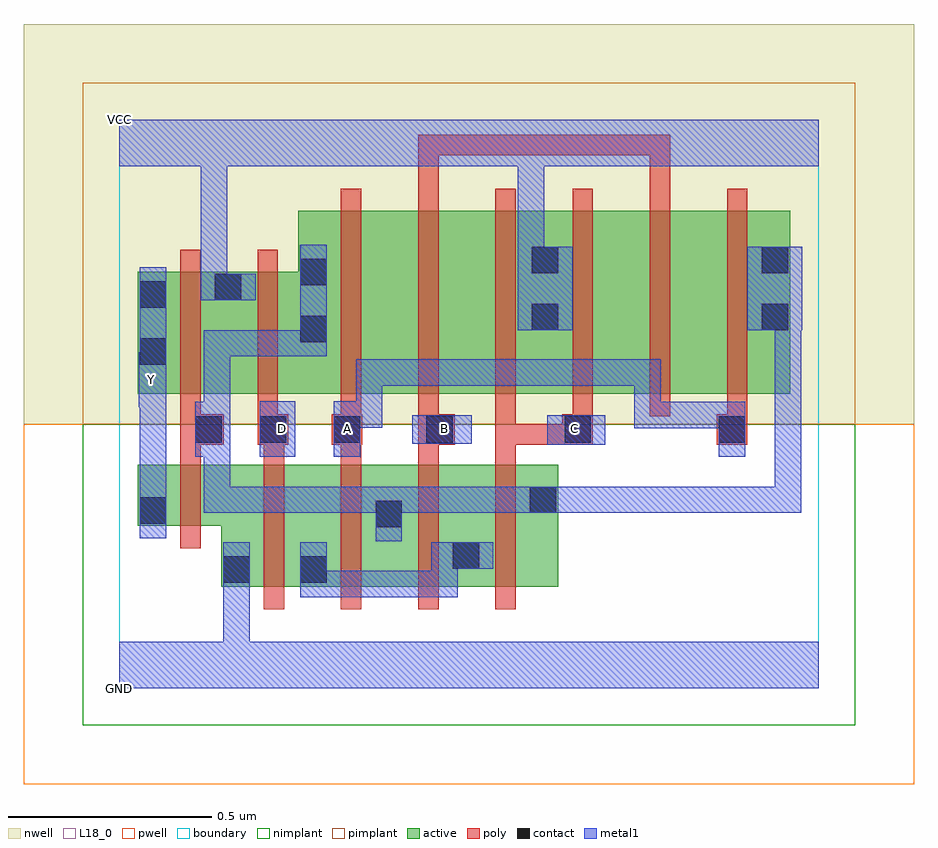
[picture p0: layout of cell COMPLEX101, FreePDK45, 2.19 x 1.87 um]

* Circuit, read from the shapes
.subckt COMPLEX101 A B C D GND VCC Y
M1 GND n1 Y VSUBS nfet w=0.15u l=0.05u
M2 n2 D GND VSUBS nfet w=0.3u l=0.05u
M3 n1 A n2 VSUBS nfet w=0.3u l=0.05u
M4 n2 B n1 VSUBS nfet w=0.3u l=0.05u
M5 n1 C n2 VSUBS nfet w=0.3u l=0.05u
M6 VCC n1 Y n3 pfet w=0.3u l=0.05u
M7 n1 D VCC n3 pfet w=0.3u l=0.05u
M8 n4 A n1 n3 pfet w=0.45u l=0.05u
M9 n5 B n4 n3 pfet w=0.45u l=0.05u
M10 VCC C n5 n3 pfet w=0.45u l=0.05u
M11 n6 C VCC n3 pfet w=0.45u l=0.05u
M12 n7 B n6 n3 pfet w=0.45u l=0.05u
M13 n1 A n7 n3 pfet w=0.45u l=0.05u
.ends

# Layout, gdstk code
import gdstk
lib = gdstk.Library(unit=1e-6, precision=1e-09)
def R(c, l, rs):  # rectangles x0, y0, x1, y1
    for r in rs: c.add(gdstk.rectangle(r[:2], r[2:], *l))
def A(c, l, x, y, w, h, nx, ny, dx, dy):  # array of equal rectangles
    R(c, l, [(x+i*dx, y+j*dy, x+i*dx+w, y+j*dy+h) for i in range(nx) for j in range(ny)])
active = (1, 0)
pwell = (2, 0)
nwell = (3, 0)
nimplant = (4, 0)
pimplant = (5, 0)
poly = (9, 0)
contact = (10, 0)
metal1 = (11, 0)
L18_0 = (18, 0)
boundary = (235, 0)

complex101 = lib.new_cell('COMPLEX101')
R(complex101, active, [(0.25,0.25,0.515,0.55), (0.44,0.25,0.7,0.55), (0.44,0.25,0.515,0.392), (0.625,0.25,0.89,0.55), (0.815,0.25,1.08,0.55), (0.815,0.25,0.89,0.502), (0.25,0.255,0.325,0.55), (1.005,0.282,1.08,0.55), (0.625,0.295,0.7,0.467), (0.045,0.4,0.325,0.55), (0.045,0.4,0.12,0.55), (0.045,0.725,0.305,1.025), (0.045,0.725,0.12,1.007), (0.23,0.725,0.515,1.025), (0.44,0.725,0.665,1.175), (0.44,0.725,0.515,1.062), (0.665,0.725,0.855,1.175), (0.855,0.725,1.085,1.175), (1.01,0.725,1.235,1.175), (1.235,0.725,1.425,1.175), (1.425,0.725,1.65,1.175), (1.575,0.725,1.65,1.155), (1.01,0.732,1.085,1.155), (0.23,0.742,0.305,1.025)])
R(complex101, pwell, [(-0.235,-0.235,1.955,0.65)])
R(complex101, nwell, [(-0.235,0.65,1.955,1.635)])
R(complex101, nimplant, [(-0.09,-0.09,1.81,0.65)])
R(complex101, pimplant, [(-0.09,0.65,1.81,1.49)])
A(complex101, poly, 0.355, 0.195, 0.05, 0.41, 4, 1, 0.19, 0)
A(complex101, poly, 0.355, 0.555, 0.05, 0.095, 4, 1, 0.19, 0)
A(complex101, poly, 0.735, 0.625, 0.05, 0.095, 3, 1, 0.38, 0)
A(complex101, poly, 0.545, 0.67, 0.05, 0.56, 6, 1, 0.19, 0)
R(complex101, poly, [(0.15,0.345,0.2,0.605), (0.15,0.555,0.2,0.65), (0.15,0.6,0.257,0.675), (0.34,0.6,0.415,0.675), (0.522,0.6,0.597,0.675), (0.735,0.6,0.825,0.675), (0.925,0.6,0.975,0.65), (0.925,0.6,0.975,0.65), (0.925,0.6,0.975,0.65), (0.925,0.6,1.14,0.65), (0.925,0.6,0.975,0.72), (1.09,0.6,1.165,0.675), (1.47,0.6,1.545,0.675), (0.15,0.625,0.2,0.72), (0.34,0.625,0.39,0.72), (0.545,0.625,0.595,0.72), (0.15,0.67,0.2,1.08), (0.34,0.67,0.39,1.08), (0.735,1.18,0.785,1.362), (1.305,1.18,1.355,1.362), (0.735,1.312,0.785,1.362), (0.735,1.312,0.785,1.362), (0.735,1.312,0.785,1.362), (0.735,1.312,1.007,1.362), (0.957,1.312,1.007,1.362), (0.957,1.312,1.007,1.362), (0.957,1.312,1.007,1.362), (0.957,1.312,1.14,1.362), (1.09,1.312,1.14,1.362), (1.09,1.312,1.355,1.362), (1.305,1.312,1.355,1.362), (1.305,1.312,1.355,1.362), (1.305,1.312,1.355,1.362)])
R(complex101, contact, [(0.255,0.26,0.32,0.325), (0.445,0.26,0.51,0.325), (0.82,0.295,0.885,0.36), (0.63,0.397,0.695,0.462), (0.05,0.405,0.115,0.47), (1.01,0.432,1.075,0.497), (0.187,0.605,0.252,0.67), (0.345,0.605,0.41,0.67), (0.527,0.605,0.592,0.67), (0.755,0.605,0.82,0.67), (1.095,0.605,1.16,0.67), (1.475,0.605,1.54,0.67), (0.05,0.797,0.115,0.862), (0.445,0.852,0.51,0.917), (1.015,0.882,1.08,0.947), (1.58,0.882,1.645,0.947), (0.05,0.937,0.115,1.002), (0.235,0.955,0.3,1.02), (0.445,0.992,0.51,1.057), (1.015,1.022,1.08,1.087), (1.58,1.022,1.645,1.087)])
R(complex101, metal1, [(0,0,1.72,0.115), (0.255,0.05,0.32,0.115), (0.255,0.05,0.32,0.115), (0.255,0.05,0.32,0.29), (0.255,0.225,0.32,0.29), (0.255,0.225,0.32,0.29), (0.255,0.225,0.32,0.36), (0.445,0.225,0.51,0.36), (0.445,0.225,0.647,0.29), (0.582,0.225,0.647,0.29), (0.582,0.225,0.647,0.29), (0.582,0.225,0.647,0.29), (0.582,0.225,0.832,0.29), (0.767,0.225,0.832,0.36), (0.767,0.295,0.85,0.36), (0.785,0.295,0.92,0.36), (0.63,0.362,0.695,0.497), (0.05,0.37,0.115,0.505), (0.207,0.432,0.272,0.497), (0.207,0.432,0.39,0.497), (0.207,0.432,0.272,0.635), (0.325,0.432,0.39,0.497), (0.325,0.432,0.492,0.497), (0.427,0.432,0.492,0.497), (0.427,0.432,0.647,0.497), (0.582,0.432,0.647,0.497), (0.582,0.432,0.695,0.497), (0.63,0.432,0.832,0.497), (0.767,0.432,0.832,0.497), (0.767,0.432,0.832,0.497), (0.767,0.432,0.832,0.497), (0.767,0.432,0.97,0.497), (0.905,0.432,0.97,0.497), (0.905,0.432,1.04,0.497), (0.975,0.432,1.11,0.497), (1.045,0.432,1.11,0.497), (1.045,0.432,1.11,0.497), (1.045,0.432,1.332,0.497), (1.267,0.432,1.332,0.497), (1.267,0.432,1.332,0.497), (1.267,0.432,1.332,0.497), (1.267,0.432,1.47,0.497), (1.405,0.432,1.47,0.497), (1.405,0.432,1.677,0.497), (1.612,0.432,1.677,0.497), (1.612,0.432,1.677,0.497), (1.612,0.432,1.677,0.497), (1.612,0.432,1.677,0.947), (0.05,0.44,0.115,0.757), (0.187,0.57,0.252,0.705), (0.187,0.57,0.272,0.635), (0.207,0.57,0.272,0.635), (0.207,0.57,0.272,0.882), (0.345,0.57,0.432,0.707), (0.527,0.57,0.592,0.707), (1.475,0.57,1.54,0.705), (1.052,0.6,1.195,0.672), (0.72,0.602,0.867,0.672), (1.267,0.64,1.332,0.705), (1.267,0.64,1.332,0.705), (1.267,0.64,1.332,0.705), (1.267,0.64,1.472,0.705), (1.267,0.64,1.332,0.81), (1.407,0.64,1.472,0.705), (1.407,0.64,1.54,0.705), (0.527,0.642,0.647,0.707), (0.582,0.642,0.647,0.707), (0.582,0.642,0.647,0.81), (0.047,0.692,0.115,0.827), (0.582,0.745,0.647,0.81), (0.582,0.745,0.832,0.81), (0.767,0.745,0.832,0.81), (0.767,0.745,0.832,0.81), (0.767,0.745,0.832,0.81), (0.767,0.745,0.972,0.81), (0.907,0.745,0.972,0.81), (0.907,0.745,0.972,0.81), (0.907,0.745,0.972,0.81), (0.907,0.745,1.195,0.81), (1.13,0.745,1.195,0.81), (1.13,0.745,1.332,0.81), (1.267,0.745,1.332,0.81), (0.05,0.762,0.115,0.827), (0.05,0.762,0.115,1.037), (0.207,0.817,0.272,0.882), (0.207,0.817,0.435,0.882), (0.37,0.817,0.435,0.882), (0.37,0.817,0.51,0.882), (0.445,0.817,0.51,1.092), (0.98,0.882,1.115,1.087), (1.545,0.882,1.68,1.087), (1.612,0.882,1.677,0.947), (1.612,0.882,1.677,0.947), (0.2,0.955,0.335,1.02), (0.2,0.955,0.265,1.35), (0.98,1.022,1.045,1.087), (0.98,1.022,1.045,1.087), (0.98,1.022,1.045,1.35), (0,1.285,1.72,1.4), (0.2,1.285,0.265,1.35), (0.2,1.285,0.265,1.35), (0.2,1.285,0.265,1.35), (0.2,1.285,0.265,1.35)])
R(complex101, L18_0, [(0,0,1.72,0.115), (0.255,0.05,0.32,0.115), (0.255,0.05,0.32,0.115), (0.255,0.05,0.32,0.29), (0.255,0.225,0.32,0.36), (0.255,0.225,0.32,0.29), (0.255,0.225,0.32,0.29), (0.05,0.37,0.115,0.505), (0.05,0.44,0.115,0.757), (0.345,0.57,0.432,0.707), (0.527,0.57,0.592,0.707), (1.475,0.57,1.54,0.705), (1.052,0.6,1.195,0.672), (0.72,0.602,0.867,0.672), (0.367,0.607,0.432,0.672), (0.527,0.607,0.592,0.672), (0.767,0.607,0.832,0.672), (1.087,0.607,1.152,0.672), (1.267,0.64,1.332,0.705), (1.267,0.64,1.332,0.705), (1.267,0.64,1.332,0.705), (1.267,0.64,1.472,0.705), (1.267,0.64,1.332,0.81), (1.407,0.64,1.472,0.705), (1.407,0.64,1.54,0.705), (0.527,0.642,0.647,0.707), (0.582,0.642,0.647,0.707), (0.582,0.642,0.647,0.81), (0.047,0.692,0.115,0.827), (0.047,0.727,0.112,0.792), (0.582,0.745,0.647,0.81), (0.582,0.745,0.832,0.81), (0.767,0.745,0.832,0.81), (0.767,0.745,0.832,0.81), (0.767,0.745,0.832,0.81), (0.767,0.745,0.972,0.81), (0.907,0.745,0.972,0.81), (0.907,0.745,0.972,0.81), (0.907,0.745,0.972,0.81), (0.907,0.745,1.195,0.81), (1.13,0.745,1.195,0.81), (1.13,0.745,1.332,0.81), (1.267,0.745,1.332,0.81), (0.05,0.762,0.115,1.037), (0.05,0.762,0.115,0.827), (0.98,0.882,1.115,1.087), (0.2,0.955,0.335,1.02), (0.2,0.955,0.265,1.35), (0.98,1.022,1.045,1.087), (0.98,1.022,1.045,1.087), (0.98,1.022,1.045,1.35), (0,1.285,1.72,1.4), (0.2,1.285,0.265,1.35), (0.2,1.285,0.265,1.35), (0.2,1.285,0.265,1.35), (0.2,1.285,0.265,1.35)])
R(complex101, boundary, [(0,0,1.72,1.4)])
complex101.add(gdstk.Label('A', (0.56,0.64), layer=11, texttype=0))
complex101.add(gdstk.Label('B', (0.8,0.64), layer=11, texttype=0))
complex101.add(gdstk.Label('C', (1.12,0.64), layer=11, texttype=0))
complex101.add(gdstk.Label('D', (0.4,0.64), layer=11, texttype=0))
complex101.add(gdstk.Label('Y', (0.08,0.76), layer=11, texttype=0))
complex101.add(gdstk.Label('VCC', (0,1.4), layer=11, texttype=0))
complex101.add(gdstk.Label('GND', (0,0), layer=11, texttype=0))

lib.write_gds('COMPLEX101.gds')
